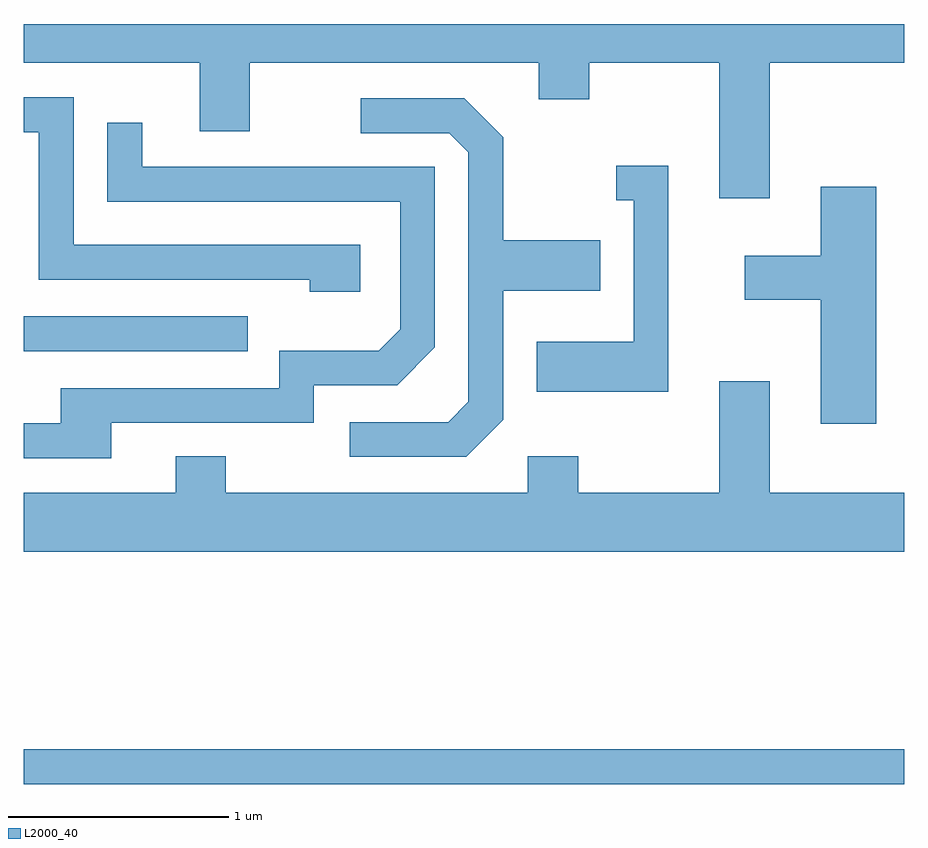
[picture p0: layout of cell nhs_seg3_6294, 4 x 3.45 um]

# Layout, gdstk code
import gdstk
lib = gdstk.Library(unit=1e-6, precision=1e-09)
def R(c, l, rs):  # rectangles x0, y0, x1, y1
    for r in rs: c.add(gdstk.rectangle(r[:2], r[2:], *l))
def P(c, l, *ps):  # polygons
    for p in ps: c.add(gdstk.Polygon(p, *l))
L2000_40 = (2000, 40)

nhs_seg3_6294 = lib.new_cell('nhs_seg3_6294')
R(nhs_seg3_6294, L2000_40, [(369.611,1200.441,373.611,1200.599), (369.611,1202.406,370.628,1202.564)])
P(nhs_seg3_6294, L2000_40, [(372.999,1203.716),(373.611,1203.716),(373.611,1203.892),(369.611,1203.892),(369.611,1203.716),(370.411,1203.716),(370.411,1203.406),(370.639,1203.406),(370.639,1203.716),(371.951,1203.716),(371.951,1203.551),(372.179,1203.551),(372.179,1203.716),(372.771,1203.716),(372.771,1203.101),(372.999,1203.101)],
  [(371.139,1202.889),(369.839,1202.889),(369.839,1203.559),(369.611,1203.559),(369.611,1203.401),(369.681,1203.401),(369.681,1202.731),(370.911,1202.731),(370.911,1202.676),(371.139,1202.676)],
  [(371.789,1202.094),(371.789,1202.681),(372.229,1202.681),(372.229,1202.909),(371.789,1202.909),(371.789,1203.377),(371.612,1203.554),(371.143,1203.554),(371.143,1203.396),(371.544,1203.396),(371.631,1203.309),(371.631,1202.177),(371.539,1202.084),(371.093,1202.084),(371.093,1201.926),(371.622,1201.926)],
  [(370.009,1202.081),(370.929,1202.081),(370.929,1202.251),(371.307,1202.251),(371.479,1202.424),(371.479,1203.244),(370.149,1203.244),(370.149,1203.443),(369.991,1203.443),(369.991,1203.086),(371.321,1203.086),(371.321,1202.507),(371.224,1202.409),(370.771,1202.409),(370.771,1202.239),(369.781,1202.239),(369.781,1202.079),(369.611,1202.079),(369.611,1201.921),(370.009,1201.921)],
  [(372.539,1203.249),(372.303,1203.249),(372.303,1203.091),(372.381,1203.091),(372.381,1202.449),(371.941,1202.449),(371.941,1202.221),(372.539,1202.221)],
  [(373.484,1203.154),(373.231,1203.154),(373.231,1202.839),(372.886,1202.839),(372.886,1202.641),(373.231,1202.641),(373.231,1202.076),(373.484,1202.076)],
  [(373.611,1201.764),(372.999,1201.764),(372.999,1202.269),(372.771,1202.269),(372.771,1201.764),(372.129,1201.764),(372.129,1201.929),(371.901,1201.929),(371.901,1201.764),(370.529,1201.764),(370.529,1201.929),(370.301,1201.929),(370.301,1201.764),(369.611,1201.764),(369.611,1201.496),(373.611,1201.496)])

lib.write_gds('nhs_seg3_6294.gds')
